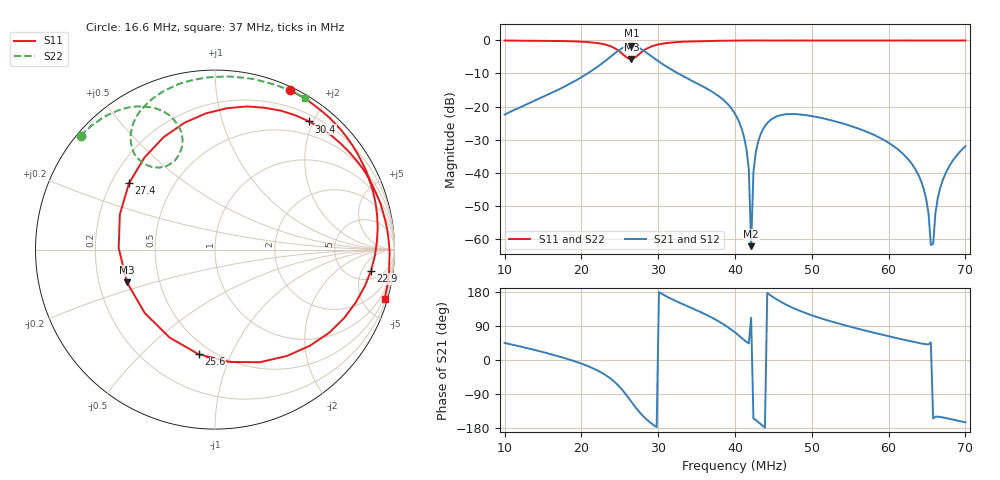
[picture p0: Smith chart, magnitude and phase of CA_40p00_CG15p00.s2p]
#  HZ  S  RI  R  50.00
! Rohde & Schwarz ZVT8 8Ports - Version 4.11 - 1300.0000k08 SN: 100242
! Date: 2026-07-31 14:48:12
! Measurements: S11 S21 S12 S22
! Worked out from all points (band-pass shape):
!   201 points, 10 MHz to 70 MHz, reference 50 ohm
!   highest |S21| = -1.55 dB at 26.5 MHz (marker M1); lowest = -62.2 dB at 42.1 MHz (marker M2)
!   |S21| within 3 dB of the highest: 24 MHz to 28.98 MHz (4.976 MHz wide, 18.8 % of centre)
!   lowest |S11| = -5.6 dB at 26.5 MHz (marker M3), VSWR 3.20, Z = 16.1 - j8.05 ohm
!   |S11| at or under -10 dB: nowhere
!   |S22| runs from -5.4 to 0.0 dB; largest |S21 - S12| = 0.0025
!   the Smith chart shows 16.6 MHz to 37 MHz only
!   S11 on the Smith chart (normalised r, x): 16.6 MHz: 0.03, +1.58; 22.9 MHz: 7, -8; 25.6 MHz: 0.43, -0.76; 27.4 MHz: 0.27, +0.32; 30.4 MHz: 0.29, +1.94; 37 MHz: 0.42, -7.04
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1e7  -0.3986 0.9123  0.0533 0.0535  0.0529 0.0536  -0.919 0.3849
1.66e7  0.4191 0.8866  0.1674 0.0355  0.167 0.0349  -0.7489 0.6348
2.02e7  0.8174 0.4902  0.2812 -0.0548  0.2803 -0.0544  -0.5822 0.756
2.29e7  0.869 -0.1185  0.3764 -0.2791  0.3779 -0.2791  -0.3727 0.7946
2.56e7  -0.0906 -0.5833  0.0582 -0.7913  0.0573 -0.7913  -0.1844 0.5701
2.65e7  -0.4908 -0.1815  -0.2861 -0.786  -0.2871 -0.7868  -0.2647 0.4678
2.74e7  -0.4788 0.3705  -0.5385 -0.5672  -0.5384 -0.5649  -0.392 0.476
3.01e7  0.4507 0.747  -0.4771 0.00909  -0.4764 0.0084  -0.4196 0.769
3.04e7  0.5248 0.714  -0.4506 0.0355  -0.4505 0.0357  -0.397 0.7947
3.7e7  0.9449 -0.2729  -0.0623 0.1562  -0.0622 0.1558  0.5012 0.8435
4e7  0.7741 -0.6242  0.0228 0.0743  0.0231 0.0742  0.986 0.0602
4.15e7  0.6461 -0.7601  0.015 0.0164  0.0149 0.0165  0.7729 -0.6184
4.18e7  0.6167 -0.7847  0.00799 0.00766  0.00794 0.00764  0.6638 -0.7347
4.21e7  0.5878 -0.8071  -0.000279 0.00072  -0.000265 0.000544  0.5357 -0.8323
4.24e7  0.5575 -0.8267  -0.00923 -0.00437  -0.00917 -0.00431  0.3949 -0.9073
4.33e7  0.4652 -0.8833  -0.0364 -0.00747  -0.0363 -0.00737  -0.056 -0.9881
4.6e7  0.168 -0.9809  -0.0661 0.0333  -0.0664 0.0336  -0.8849 -0.4478
5.02e7  -0.3027 -0.9486  -0.0318 0.0635  -0.0318 0.0635  -0.9392 0.3252
6.01e7  -0.9834 -0.1561  0.0129 0.0246  0.0128 0.0245  -0.4228 0.9017
6.43e7  -0.9469 0.3079  0.00515 0.00487  0.00518 0.00483  -0.212 0.9743
6.55e7  -0.8985 0.4315  0.000561 0.000579  0.000528 0.000603  -0.1543 0.9838
7e7  -0.5712 0.8162  -0.0242 -0.00669  -0.0241 -0.00668  0.0577 0.9952
